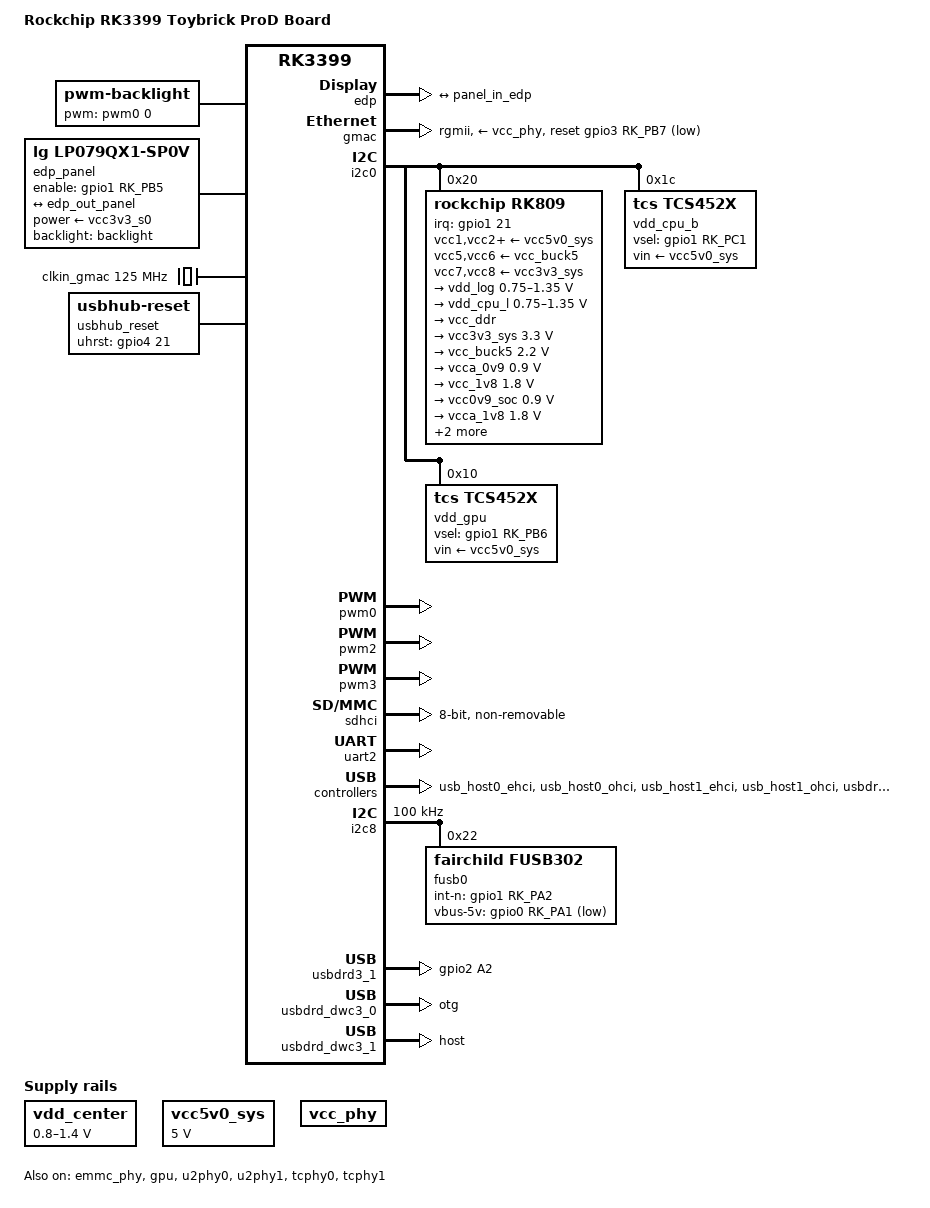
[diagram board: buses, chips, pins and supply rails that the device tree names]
// SPDX-License-Identifier: (GPL-2.0+)
/*
 * Copyright (c) 2021 Capgemini Engineering
 */

/dts-v1/;
#include <dt-bindings/pwm/pwm.h>
#include "rk3399.dtsi"

/ {
	model = "Rockchip RK3399 Toybrick ProD Board";
	compatible = "rockchip,rk3399-evb", "rockchip,rk3399";

	backlight: backlight {
		compatible = "pwm-backlight";
		brightness-levels = <
			  0   1   2   3   4   5   6   7
			  8   9  10  11  12  13  14  15
			 16  17  18  19  20  21  22  23
			 24  25  26  27  28  29  30  31
			 32  33  34  35  36  37  38  39
			 40  41  42  43  44  45  46  47
			 48  49  50  51  52  53  54  55
			 56  57  58  59  60  61  62  63
			 64  65  66  67  68  69  70  71
			 72  73  74  75  76  77  78  79
			 80  81  82  83  84  85  86  87
			 88  89  90  91  92  93  94  95
			 96  97  98  99 100 101 102 103
			104 105 106 107 108 109 110 111
			112 113 114 115 116 117 118 119
			120 121 122 123 124 125 126 127
			128 129 130 131 132 133 134 135
			136 137 138 139 140 141 142 143
			144 145 146 147 148 149 150 151
			152 153 154 155 156 157 158 159
			160 161 162 163 164 165 166 167
			168 169 170 171 172 173 174 175
			176 177 178 179 180 181 182 183
			184 185 186 187 188 189 190 191
			192 193 194 195 196 197 198 199
			200 201 202 203 204 205 206 207
			208 209 210 211 212 213 214 215
			216 217 218 219 220 221 222 223
			224 225 226 227 228 229 230 231
			232 233 234 235 236 237 238 239
			240 241 242 243 244 245 246 247
			248 249 250 251 252 253 254 255>;
		default-brightness-level = <200>;
		pwms = <&pwm0 0 25000 0>;
	};

	edp_panel: edp-panel {
		compatible ="lg,lp079qx1-sp0v";
		backlight = <&backlight>;
		enable-gpios = <&gpio1 RK_PB5 GPIO_ACTIVE_HIGH>;
		power-supply = <&vcc3v3_s0>;

		port {
			panel_in_edp: endpoint {
				remote-endpoint = <&edp_out_panel>;
			};
		};
	};

	clkin_gmac: external-gmac-clock {
		compatible = "fixed-clock";
		clock-frequency = <125000000>;
		clock-output-names = "clkin_gmac";
		#clock-cells = <0>;
	};

	vdd_center: vdd-center {
		compatible = "pwm-regulator";
		pwms = <&pwm3 0 25000 0>;
		regulator-name = "vdd_center";
		regulator-min-microvolt = <800000>;
		regulator-max-microvolt = <1400000>;
		regulator-always-on;
		regulator-boot-on;
		status = "okay";
	};

	vcc5v0_sys: vcc5v0-sys {
		compatible = "regulator-fixed";
		regulator-name = "vcc5v0_sys";
		regulator-always-on;
		regulator-boot-on;
		regulator-min-microvolt = <5000000>;
		regulator-max-microvolt = <5000000>;
	};

	vcc_phy: vcc-phy-regulator {
		compatible = "regulator-fixed";
		regulator-name = "vcc_phy";
		regulator-always-on;
		regulator-boot-on;
	};

	usbhub_reset: usbhub-reset {
		compatible = "usbhub-reset";
		uhrst-gpio = <&gpio4 21 GPIO_ACTIVE_HIGH>;
	};
};

&edp {
	status = "okay";
	force-hpd;

	ports {
		edp_out: port@1 {
			reg = <1>;
			#address-cells = <1>;
			#size-cells = <0>;

			edp_out_panel: endpoint@0 {
				reg = <0>;
				remote-endpoint = <&panel_in_edp>;
			};
		};
	};
};

&emmc_phy {
	status = "okay";
};

&gmac {
	assigned-clocks = <&cru SCLK_RMII_SRC>;
	assigned-clock-parents = <&clkin_gmac>;
	clock_in_out = "input";
	phy-supply = <&vcc_phy>;
	phy-mode = "rgmii";
	pinctrl-names = "default";
	pinctrl-0 = <&rgmii_pins>;
	snps,reset-gpio = <&gpio3 RK_PB7 GPIO_ACTIVE_LOW>;
	snps,reset-active-low;
	snps,reset-delays-us = <0 10000 50000>;
	tx_delay = <0x28>;
	rx_delay = <0x11>;
	status = "okay";
};

&i2c0 {
	status = "okay";

	rk809: pmic@20 {
		compatible = "rockchip,rk809";
		reg = <0x20>;
		interrupt-parent = <&gpio1>;
		interrupts = <21 IRQ_TYPE_LEVEL_LOW>;
		pinctrl-names = "default";
		pinctrl-0 = <&pmic_int_l>;
		rockchip,system-power-controller;
		wakeup-source;
		#clock-cells = <1>;
		clock-output-names = "rk808-clkout1", "rk808-clkout2";

		vcc1-supply = <&vcc5v0_sys>;
		vcc2-supply = <&vcc5v0_sys>;
		vcc3-supply = <&vcc5v0_sys>;
		vcc4-supply = <&vcc5v0_sys>;
		vcc5-supply = <&vcc_buck5>;
		vcc6-supply = <&vcc_buck5>;
		vcc7-supply = <&vcc3v3_sys>;
		vcc8-supply = <&vcc3v3_sys>;
		vcc9-supply = <&vcc5v0_sys>;

		regulators {
			vdd_log: DCDC_REG1 {
				regulator-name = "vdd_log";
				regulator-min-microvolt = <750000>;
				regulator-max-microvolt = <1350000>;
				regulator-ramp-delay = <6001>;
				regulator-always-on;
				regulator-boot-on;
				regulator-state-mem {
					regulator-on-in-suspend;
					regulator-suspend-microvolt = <900000>;
				};
			};

			vdd_cpu_l: DCDC_REG2 {
				regulator-name = "vdd_cpu_l";
				regulator-min-microvolt = <750000>;
				regulator-max-microvolt = <1350000>;
				regulator-ramp-delay = <6001>;
				regulator-always-on;
				regulator-boot-on;
				regulator-state-mem {
					regulator-off-in-suspend;
				};
			};

			vcc_ddr: DCDC_REG3 {
				regulator-name = "vcc_ddr";
				regulator-always-on;
				regulator-boot-on;
				regulator-state-mem {
					regulator-on-in-suspend;
				};
			};

			vcc3v3_sys: DCDC_REG4 {
				regulator-always-on;
				regulator-boot-on;
				regulator-min-microvolt = <3300000>;
				regulator-max-microvolt = <3300000>;
				regulator-initial-mode = <0x2>;
				regulator-name = "vcc3v3_sys";
				regulator-state-mem {
					regulator-on-in-suspend;
					regulator-suspend-microvolt = <3300000>;
				};
			};

			vcc_buck5: DCDC_REG5 {
				regulator-always-on;
				regulator-boot-on;
				regulator-min-microvolt = <2200000>;
				regulator-max-microvolt = <2200000>;
				regulator-name = "vcc_buck5";
				regulator-state-mem {
					regulator-on-in-suspend;
					regulator-suspend-microvolt = <2200000>;
				};
			};

			vcca_0v9: LDO_REG1 {
				regulator-always-on;
				regulator-boot-on;
				regulator-min-microvolt = <900000>;
				regulator-max-microvolt = <900000>;
				regulator-name = "vcca_0v9";
				regulator-state-mem {
					regulator-off-in-suspend;
				};
			};

			vcc_1v8: LDO_REG2 {
				regulator-always-on;
				regulator-boot-on;
				regulator-min-microvolt = <1800000>;
				regulator-max-microvolt = <1800000>;

				regulator-name = "vcc_1v8";
				regulator-state-mem {
					regulator-on-in-suspend;
					regulator-suspend-microvolt = <1800000>;
				};
			};

			vcc0v9_soc: LDO_REG3 {
				regulator-always-on;
				regulator-boot-on;
				regulator-min-microvolt = <900000>;
				regulator-max-microvolt = <900000>;

				regulator-name = "vcc0v9_soc";
				regulator-state-mem {
					regulator-on-in-suspend;
					regulator-suspend-microvolt = <900000>;
				};
			};

			vcca_1v8: LDO_REG4 {
				regulator-always-on;
				regulator-boot-on;
				regulator-min-microvolt = <1800000>;
				regulator-max-microvolt = <1800000>;

				regulator-name = "vcca_1v8";
				regulator-state-mem {
					regulator-on-in-suspend;
				};
			};

			vdd1v5_dvp: LDO_REG5 {
				regulator-always-on;
				regulator-boot-on;
				regulator-min-microvolt = <1500000>;
				regulator-max-microvolt = <1500000>;

				regulator-name = "vdd1v5_dvp";
				regulator-state-mem {
					regulator-off-in-suspend;
				};
			};

			vcc_1v5: LDO_REG6 {
				regulator-name = "vcc_1v5";
				regulator-min-microvolt = <1500000>;
				regulator-max-microvolt = <1500000>;
				regulator-always-on;
				regulator-boot-on;
				regulator-state-mem {
					regulator-on-in-suspend;
					regulator-suspend-microvolt = <1500000>;
				};
			};

			vcc_3v0: LDO_REG7 {
				regulator-always-on;
				regulator-boot-on;
				regulator-min-microvolt = <3000000>;
				regulator-max-microvolt = <3000000>;

				regulator-name = "vcc_3v0";
				regulator-state-mem {
					regulator-off-in-suspend;
				};
			};

			vccio_sd: LDO_REG8 {
				regulator-always-on;
				regulator-boot-on;
				regulator-min-microvolt = <1800000>;
				regulator-max-microvolt = <3300000>;
				regulator-name = "vccio_sd";
				regulator-state-mem {
					regulator-on-in-suspend;
					regulator-suspend-microvolt = <3300000>;
				};
			};

			vcc_sd: LDO_REG9 {
				regulator-always-on;
				regulator-boot-on;
				regulator-min-microvolt = <3300000>;
				regulator-max-microvolt = <3300000>;

				regulator-name = "vcc_sd";
				regulator-state-mem {
					regulator-on-in-suspend;
					regulator-suspend-microvolt = <3300000>;
				};
			};

			vcc5v0_usb: SWITCH_REG1 {
				regulator-min-microvolt = <5000000>;
				regulator-max-microvolt = <5000000>;
				regulator-always-on;
				regulator-boot-on;
				regulator-name = "vcc5v0_usb";
				regulator-state-mem {
					regulator-off-in-suspend;
				};
			};

			vcc3v3_s0: SWITCH_REG2 {
				regulator-name = "vcc3v3_s0";
				regulator-always-on;
				regulator-boot-on;
				regulator-state-mem {
					regulator-off-in-suspend;
				};
			};
		};
	};

	vdd_cpu_b: tcs452x@1c {
		compatible = "tcs,tcs452x";
		reg = <0x1c>;
		vin-supply = <&vcc5v0_sys>;
		regulator-compatible = "fan53555-reg";
		pinctrl-0 = <&vsel1_gpio>;
		vsel-gpios = <&gpio1 RK_PC1 GPIO_ACTIVE_HIGH>;
		regulator-name = "vdd_cpu_b";
		regulator-min-microvolt = <712500>;
		regulator-max-microvolt = <1500000>;
		regulator-ramp-delay = <2300>;
		fcs,suspend-voltage-selector = <1>;
		regulator-always-on;
		regulator-boot-on;
		regulator-initial-state = <3>;
		regulator-state-mem {
			regulator-off-in-suspend;
		};
	};

	vdd_gpu: tcs452x@10 {
		compatible = "tcs,tcs452x";
		status = "okay";
		reg = <0x10>;
		vin-supply = <&vcc5v0_sys>;
		regulator-compatible = "fan53555-reg";
		pinctrl-0 = <&vsel2_gpio>;
		vsel-gpios = <&gpio1 RK_PB6 GPIO_ACTIVE_HIGH>;
		regulator-name = "vdd_gpu";
		regulator-min-microvolt = <735000>;
		regulator-max-microvolt = <1400000>;
		regulator-ramp-delay = <2300>;
		fcs,suspend-voltage-selector = <1>;
		regulator-always-on;
		regulator-boot-on;
		regulator-state-mem {
			regulator-off-in-suspend;
		};
	};
};

&cpu_l0 {
	cpu-supply = <&vdd_cpu_l>;
};

&cpu_l1 {
	cpu-supply = <&vdd_cpu_l>;
};

&cpu_l2 {
	cpu-supply = <&vdd_cpu_l>;
};

&cpu_l3 {
	cpu-supply = <&vdd_cpu_l>;
};

&cpu_b0 {
	cpu-supply = <&vdd_cpu_b>;
};

&cpu_b1 {
	cpu-supply = <&vdd_cpu_b>;
};

&gpu {
	status = "okay";
	mali-supply = <&vdd_gpu>;
};

&pwm0 {
	status = "okay";
};

&pwm2 {
	status = "okay";
};

&pwm3 {
	status = "okay";
};

&sdhci {
	bus-width = <8>;
	mmc-hs400-1_8v;
	mmc-hs400-enhanced-strobe;
	non-removable;
	status = "okay";
};

&pcie_phy {
	status = "disabled";
};

&pcie0 {
	ep-gpios = <&gpio3 RK_PB5 GPIO_ACTIVE_HIGH>;
	num-lanes = <4>;
	pinctrl-names = "default";
	pinctrl-0 = <&pcie_clkreqn_cpm>;
	status = "disabled";
};

&u2phy0 {
	status = "okay";
};

&u2phy0_host {
	status = "okay";
};

&u2phy1 {
	status = "okay";
};

&u2phy1_host {
	status = "okay";
};

&uart2 {
	status = "okay";
};

&usb_host0_ehci {
	status = "okay";
};

&usb_host0_ohci {
	status = "okay";
};

&usb_host1_ehci {
	status = "okay";
};

&usb_host1_ohci {
	status = "okay";
};

&i2c8 {
	status = "okay";
	i2c-scl-rising-time-ns = <345>;
	i2c-scl-falling-time-ns = <11>;
	clock-frequency = <100000>;

	fusb0: fusb30x@22 {
		compatible = "fairchild,fusb302";
		reg = <0x22>;
		pinctrl-names = "default";
		pinctrl-0 = <&fusb0_int>;
		int-n-gpios = <&gpio1 RK_PA2 GPIO_ACTIVE_HIGH>;
		vbus-5v-gpios = <&gpio0 RK_PA1 GPIO_ACTIVE_LOW>;
		status = "okay";
	};
};

&usbdrd3_0 {
	extcon = <&fusb0>;
	status = "okay";
};

&usbdrd3_1 {
	status = "okay";
	pinctrl-names = "default";
	pinctrl-0 = <&usb3_host_en>;
};

&usbdrd_dwc3_0 {
	dr_mode = "otg";
	//snps,tx-fifo-resize;
	status = "okay";
};

&usbdrd_dwc3_1 {
	dr_mode = "host";
	status = "okay";
};

&tcphy0 {
	extcon = <&fusb0>;
	status = "okay";
};

&tcphy1 {
	status = "okay";
};

&u2phy0 {
	status = "okay";
	extcon = <&fusb0>;
	u2phy0_otg: otg-port {
		status = "okay";
	};
	u2phy0_host: host-port {
		phy-supply = <&vcc5v0_usb>;
		status = "okay";
	};
};

&u2phy1 {
	status = "okay";
	u2phy1_otg: otg-port {
		status = "okay";
	};
	u2phy1_host: host-port {
		phy-supply = <&vcc5v0_usb>;
		status = "okay";
	};
};

&pinctrl {
	pinctrl-names = "default";
	pinctrl-0 = <&npu_ref_clk>;
	npu_clk {
		npu_ref_clk: npu-ref-clk {
			rockchip,pins =
				<0 RK_PA2 1 &pcfg_pull_none>;
		};
	};
	pmic {
		pmic_int_l: pmic-int-l {
			rockchip,pins =
				<1 RK_PC2 RK_FUNC_GPIO &pcfg_pull_up>;
		};
		vsel1_gpio: vsel1-gpio {
			rockchip,pins =
				<1 RK_PC1 0 &pcfg_pull_down>;
		};
		vsel2_gpio: vsel2-gpio {
			rockchip,pins =
				<1 RK_PB6 0 &pcfg_pull_down>;
		};
		soc_slppin_gpio: soc-slppin-gpio {
			rockchip,pins =
				<1 RK_PA5 0 &pcfg_output_low>;
		};
		soc_slppin_slp: soc-slppin-slp {
			rockchip,pins =
				<1 RK_PA5 1 &pcfg_pull_down>;
		};
	};
	fusb30x {
		fusb0_int: fusb0-int {
			rockchip,pins =
				<1 RK_PA2 0 &pcfg_pull_up>;
		};
	};
	usb3 {
		usb3_host_en: usb3-host-en {
			rockchip,pins =
				<2 RK_PA2 RK_FUNC_GPIO &pcfg_pull_up>;
		};
		hub_rst: hub-rst {
			rockchip,pins =
				<4 RK_PC5 RK_FUNC_GPIO &pcfg_pull_up>;
		};
	};
	leds_gpio: leds-gpio {
		rockchip,pins =
			<2 RK_PA5 RK_FUNC_GPIO &pcfg_pull_up>,
			<2 RK_PA4 RK_FUNC_GPIO &pcfg_pull_up>,
			<2 RK_PA3 RK_FUNC_GPIO &pcfg_pull_up>;
	};

};
